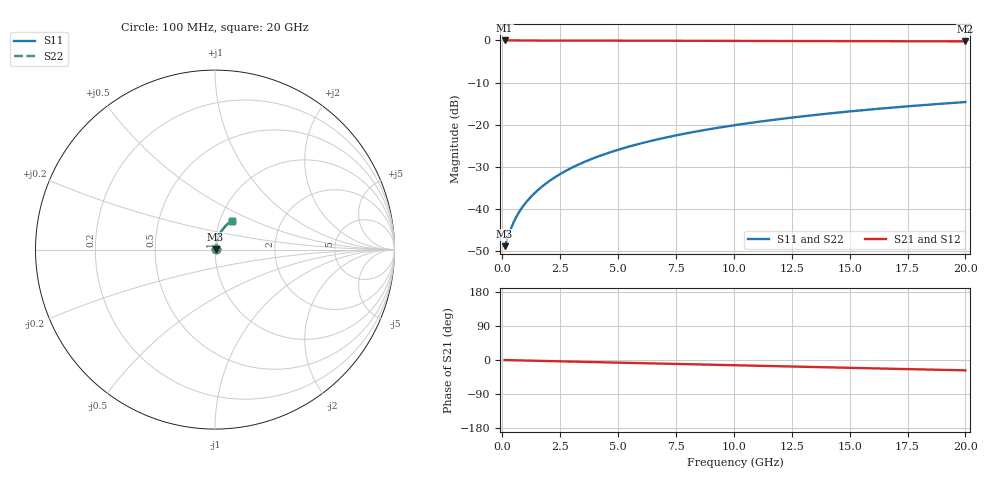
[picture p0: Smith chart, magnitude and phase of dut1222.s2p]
! Touchstone file exported from HFSS 2026.1.0
!  File:  C:/ffzhzh/LocalFiles/Ansys_Project_Files/temp_train_BSMRDL_1222_1783176824_43440.aedt
!  Generated:  10:54:58 PM Jul  4, 2026
!  Design:  BSMRDL
!  Project:  temp_train_BSMRDL_1222_1783176824_43440
! Variables:
!  h_bsmrdl = 2.2um
!  h_ox = 20um
!  h_rdl = 5um
!  h_sub = 80um
!  h_tmrdl = 5um
!  h_tsv = 80um
!  h_via = 3um
!  l_bsmrdl = 426.71um
!  l_sub = 826.71um
!  l_tmrdl = 200um
!  m_sub = 200um
!  pitch = 33.72um
!  r_tsv = 6um
!  s_tmrdl = 10um
!  w_bsmrdl = 22.27um
!  w_sub = 500um
!  w_tmrdl = 12um
!  x_tsv_center1 = 206um
!  x_tsv_center2 = 654.98um
!  x_tsv_center3 = 866.98um
!  x_tsv_center4 = 1315.96um
!  x_tsv_center5 = 1527.96um
!  x_tsv_center6 = 1976.94um
# GHz S MA R 50.000000
! Terminal data exported
! Port[1] = BSM_RDL1_1_T1
! Port[2] = BSM_RDL1_1_T2
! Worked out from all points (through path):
!   200 points, 100 MHz to 20 GHz, reference 50 ohm
!   highest |S21| = -0.03 dB at 100 MHz (marker M1); lowest = -0.2 dB at 20 GHz (marker M2)
!   group delay of S21, straight-line fit = 3.79 ps
!   lowest |S11| = -48.8 dB at 100 MHz (marker M3), VSWR 1.01, Z = 50.3 + j0.126 ohm
!   |S11| at or under -10 dB: start of sweep to end of sweep
!   |S22| runs from -48.8 to -14.6 dB; largest |S21 - S12| = 3.2e-15
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0.1  0.003651 20.0  0.9966 -0.2  0.9966 -0.2  0.003651 20.0
! Gamma 0 0 0 0
! Port Impedance 50 0 50 0
0.4  0.006143 50.7  0.9961 -0.6  0.9961 -0.6  0.006143 50.7
0.5  0.007108 55.0  0.996 -0.7  0.996 -0.7  0.007108 55.0
0.6  0.008067 58.1  0.9958 -0.9  0.9958 -0.9  0.008066 58.1
0.7  0.009014 60.5  0.9957 -1.0  0.9957 -1.0  0.009013 60.5
0.9  0.01089 64.2  0.9955 -1.3  0.9955 -1.3  0.01089 64.2
1.2  0.01368 68.0  0.9952 -1.7  0.9952 -1.7  0.01368 68.0
1.4  0.01556 69.9  0.9951 -2.0  0.9951 -2.0  0.01556 69.9
1.7  0.0184 72.0  0.9949 -2.4  0.9949 -2.4  0.0184 72.0
2.2  0.0232 74.2  0.9947 -3.1  0.9947 -3.1  0.0232 74.3
2.8  0.02903 75.7  0.9944 -3.9  0.9944 -3.9  0.02903 75.7
3.5  0.03588 76.5  0.9941 -4.9  0.9941 -4.9  0.03588 76.5
4.2  0.04274 76.8  0.9936 -5.9  0.9936 -5.9  0.04274 76.8
5  0.05058 76.6  0.9931 -7.0  0.9931 -7.0  0.05059 76.6
5.9  0.05937 76.1  0.9924 -8.2  0.9924 -8.2  0.05938 76.1
6.8  0.06811 75.4  0.9916 -9.5  0.9916 -9.5  0.06812 75.4
8.3  0.08253 73.9  0.9901 -11.6  0.9901 -11.6  0.08253 73.9
10.1  0.09954 71.9  0.9879 -14.0  0.9879 -14.0  0.09954 71.9
11.7  0.1144 70.0  0.9858 -16.2  0.9858 -16.2  0.1144 70.0
13.4  0.1298 67.9  0.9834 -18.5  0.9834 -18.5  0.1298 67.9
16.7  0.1586 63.7  0.9781 -23.0  0.9781 -23.0  0.1586 63.7
20  0.1859 59.5  0.9724 -27.3  0.9724 -27.3  0.1859 59.6
